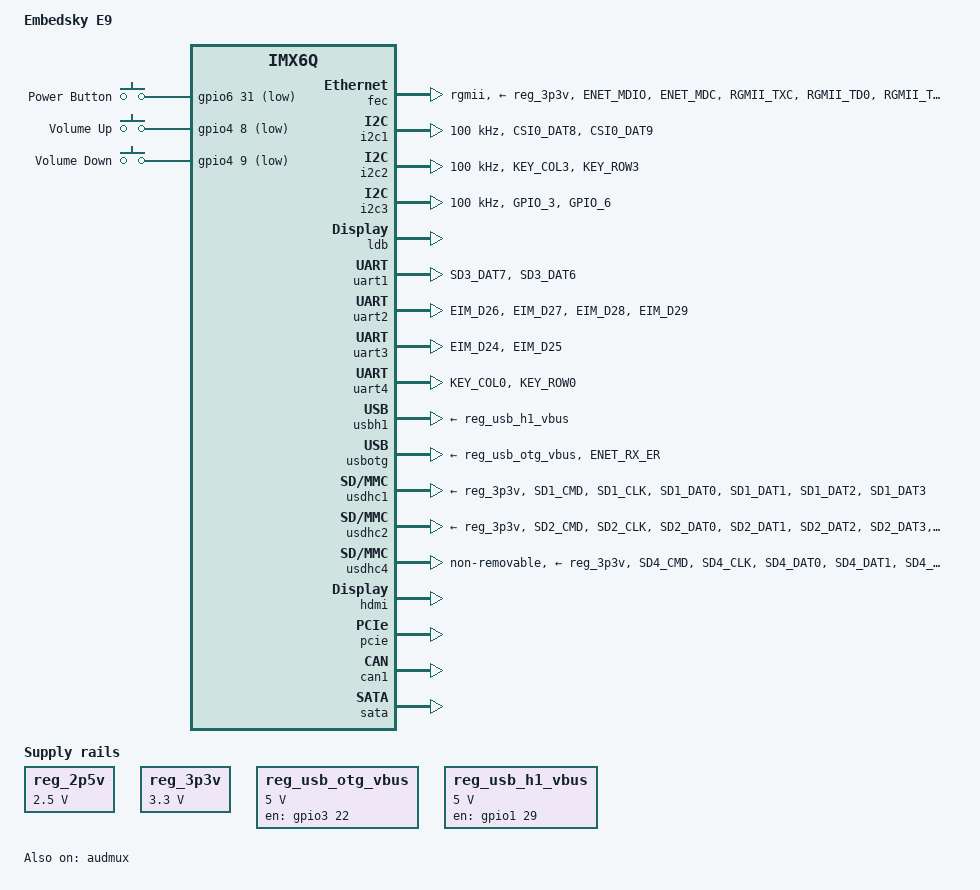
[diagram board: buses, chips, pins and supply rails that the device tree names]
/*
 * Copyright 2012 Freescale Semiconductor, Inc.
 * Copyright 2011 Linaro Ltd.
 *
 * The code contained herein is licensed under the GNU General Public
 * License. You may obtain a copy of the GNU General Public License
 * Version 2 or later at the following locations:
 *
 * http://www.opensource.org/licenses/gpl-license.html
 * http://www.gnu.org/copyleft/gpl.html
 */

#include <dt-bindings/gpio/gpio.h>
#include <dt-bindings/input/input.h>

/ {
	model = "Embedsky E9";
	compatible = "embedsky,e9", "fsl,imx6q";

	regulators {
		compatible = "simple-bus";
		#address-cells = <1>;
		#size-cells = <0>;

		reg_2p5v: regulator@0 {
			compatible = "regulator-fixed";
			reg = <0>;
			regulator-name = "2P5V";
			regulator-min-microvolt = <2500000>;
			regulator-max-microvolt = <2500000>;
			regulator-always-on;
		};

		reg_3p3v: regulator@1 {
			compatible = "regulator-fixed";
			reg = <1>;
			regulator-name = "3P3V";
			regulator-min-microvolt = <3300000>;
			regulator-max-microvolt = <3300000>;
			regulator-always-on;
		};

		reg_usb_otg_vbus: regulator@2 {
			compatible = "regulator-fixed";
			reg = <2>;
			regulator-name = "usb_otg_vbus";
			regulator-min-microvolt = <5000000>;
			regulator-max-microvolt = <5000000>;
			gpio = <&gpio3 22 0>;
			enable-active-high;
		};

		reg_usb_h1_vbus: regulator@3 {
			compatible = "regulator-fixed";
			reg = <3>;
			regulator-name = "usb_h1_vbus";
			regulator-min-microvolt = <5000000>;
			regulator-max-microvolt = <5000000>;
			gpio = <&gpio1 29 0>;
			enable-active-high;
		};

	};

	gpio-keys {
		compatible = "gpio-keys";
		pinctrl-names = "default";
		pinctrl-0 = <&pinctrl_gpio_keys>;

		power {
			label = "Power Button";
			gpios = <&gpio6 31 GPIO_ACTIVE_LOW>;
			gpio-key,wakeup;
			linux,code = <KEY_POWER>;
		};

		volume-up {
			label = "Volume Up";
			gpios = <&gpio4 8 GPIO_ACTIVE_LOW>;
			gpio-key,wakeup;
			linux,code = <KEY_VOLUMEUP>;
		};

		volume-down {
			label = "Volume Down";
			gpios = <&gpio4 9 GPIO_ACTIVE_LOW>;
			gpio-key,wakeup;
			linux,code = <KEY_VOLUMEDOWN>;
		};
	};

};

&audmux {
	pinctrl-names = "default";
	pinctrl-0 = <&pinctrl_audmux>;
	status = "okay";
};

&fec {
	pinctrl-names = "default";
	pinctrl-0 = <&pinctrl_enet>;
	phy-mode = "rgmii";
	phy-supply=<&reg_3p3v>;
	status = "okay";
};

&i2c1 {
	clock-frequency = <100000>;
	pinctrl-names = "default";
	pinctrl-0 = <&pinctrl_i2c1>;
	status = "okay";

};

&i2c2 {
	clock-frequency = <100000>;
	pinctrl-names = "default";
	pinctrl-0 = <&pinctrl_i2c2>;
	status = "okay";
};

&i2c3 {
	clock-frequency = <100000>;
	pinctrl-names = "default";
	pinctrl-0 = <&pinctrl_i2c3>;
	status = "okay";
};

&iomuxc {
	pinctrl-names = "default";
	pinctrl-0 = <&pinctrl_hog>;

	imx6qdl-embedsky-e9 {
		pinctrl_hog: hoggrp {
			fsl,pins = <
				MX6QDL_PAD_EIM_BCLK__GPIO6_IO31		0x80000000
				MX6QDL_PAD_NANDF_D0__GPIO2_IO00		0x80000000
				MX6QDL_PAD_NANDF_D1__GPIO2_IO01		0x80000000
				MX6QDL_PAD_NANDF_D2__GPIO2_IO02		0x80000000
				MX6QDL_PAD_NANDF_D3__GPIO2_IO03		0x80000000
				MX6QDL_PAD_GPIO_0__CCM_CLKO1		0x130b0
				MX6QDL_PAD_NANDF_CLE__GPIO6_IO07	0x80000000
				MX6QDL_PAD_ENET_TXD1__GPIO1_IO29	0x80000000
				MX6QDL_PAD_EIM_D22__GPIO3_IO22 		0x80000000
			>;
		};

		pinctrl_audmux: audmuxgrp {
			fsl,pins = <
				MX6QDL_PAD_CSI0_DAT7__AUD3_RXD		0x130b0
				MX6QDL_PAD_CSI0_DAT4__AUD3_TXC		0x130b0
				MX6QDL_PAD_CSI0_DAT5__AUD3_TXD		0x110b0
				MX6QDL_PAD_CSI0_DAT6__AUD3_TXFS		0x130b0
			>;
		};

		pinctrl_ecspi1: ecspi1grp {
			fsl,pins = <
				MX6QDL_PAD_KEY_COL1__ECSPI1_MISO	0x100b1
				MX6QDL_PAD_KEY_ROW0__ECSPI1_MOSI	0x100b1
				MX6QDL_PAD_KEY_COL0__ECSPI1_SCLK	0x100b1
			>;
		};

		pinctrl_enet: enetgrp {
			fsl,pins = <
				MX6QDL_PAD_ENET_MDIO__ENET_MDIO		0x1b0b0
				MX6QDL_PAD_ENET_MDC__ENET_MDC		0x1b0b0
				MX6QDL_PAD_RGMII_TXC__RGMII_TXC		0x1b0b0
				MX6QDL_PAD_RGMII_TD0__RGMII_TD0		0x1b0b0
				MX6QDL_PAD_RGMII_TD1__RGMII_TD1		0x1b0b0
				MX6QDL_PAD_RGMII_TD2__RGMII_TD2		0x1b0b0
				MX6QDL_PAD_RGMII_TD3__RGMII_TD3		0x1b0b0
				MX6QDL_PAD_RGMII_TX_CTL__RGMII_TX_CTL	0x1b0b0
				MX6QDL_PAD_ENET_REF_CLK__ENET_TX_CLK	0x1b0b0
				MX6QDL_PAD_RGMII_RXC__RGMII_RXC		0x1b0b0
				MX6QDL_PAD_RGMII_RD0__RGMII_RD0		0x1b0b0
				MX6QDL_PAD_RGMII_RD1__RGMII_RD1		0x1b0b0
				MX6QDL_PAD_RGMII_RD2__RGMII_RD2		0x1b0b0
				MX6QDL_PAD_RGMII_RD3__RGMII_RD3		0x1b0b0
				MX6QDL_PAD_RGMII_RX_CTL__RGMII_RX_CTL	0x1b0b0
				MX6QDL_PAD_ENET_CRS_DV__GPIO1_IO25	0x4001b0a8
				MX6QDL_PAD_GPIO_16__ENET_REF_CLK	0x4001b0a8
				MX6QDL_PAD_ENET_RXD1__GPIO1_IO26	0x4001b0a8
			>;
		};

		pinctrl_gpio_keys: gpio_keysgrp {
			fsl,pins = <
				MX6QDL_PAD_EIM_BCLK__GPIO6_IO31		0x80000000
				MX6QDL_PAD_KEY_COL1__KEY_COL1		0x80000000
				MX6QDL_PAD_KEY_ROW1__KEY_ROW1		0x80000000
			>;
		};

		pinctrl_i2c1: i2c1grp {
			fsl,pins = <
				MX6QDL_PAD_CSI0_DAT8__I2C1_SDA		0x4001b8b1
				MX6QDL_PAD_CSI0_DAT9__I2C1_SCL		0x4001b8b1
			>;
		};

		pinctrl_i2c2: i2c2grp {
			fsl,pins = <
				MX6QDL_PAD_KEY_COL3__I2C2_SCL		0x4001b8b1
				MX6QDL_PAD_KEY_ROW3__I2C2_SDA		0x4001b8b1
			>;
		};

		pinctrl_i2c3: i2c3grp {
			fsl,pins = <
				MX6QDL_PAD_GPIO_3__I2C3_SCL		0x4001b8b1
				MX6QDL_PAD_GPIO_6__I2C3_SDA		0x4001b8b1
			>;
		};

		pinctrl_uart1: uart1grp {
			fsl,pins = <
				MX6QDL_PAD_SD3_DAT7__UART1_TX_DATA	0x1b0b1
				MX6QDL_PAD_SD3_DAT6__UART1_RX_DATA	0x1b0b1
			>;
		};

		pinctrl_uart2: uart2grp {
			fsl,pins = <
				MX6QDL_PAD_EIM_D26__UART2_RX_DATA	0x1b0b1
				MX6QDL_PAD_EIM_D27__UART2_TX_DATA	0x1b0b1
				MX6QDL_PAD_EIM_D28__UART2_DTE_CTS_B	0x1b0b1
				MX6QDL_PAD_EIM_D29__UART2_DTE_RTS_B	0x1b0b1
			>;
		};

		pinctrl_uart3: uart3grp {
			fsl,pins = <
				MX6QDL_PAD_EIM_D24__UART3_TX_DATA	0x1b0b1
				MX6QDL_PAD_EIM_D25__UART3_RX_DATA	0x1b0b1
			>;
		};

		pinctrl_uart4: uart4grp {
			fsl,pins = <
				MX6QDL_PAD_KEY_COL0__UART4_TX_DATA	0x1b0b1
				MX6QDL_PAD_KEY_ROW0__UART4_RX_DATA	0x1b0b1
			>;
		};

		pinctrl_usbotg: usbotggrp {
			fsl,pins = <
				MX6QDL_PAD_ENET_RX_ER__USB_OTG_ID	0x17059
			>;
		};

		pinctrl_usdhc1: usdhc1grp {
			fsl,pins = <
				MX6QDL_PAD_SD1_CMD__SD1_CMD		0x17059
				MX6QDL_PAD_SD1_CLK__SD1_CLK		0x10059
				MX6QDL_PAD_SD1_DAT0__SD1_DATA0		0x17059
				MX6QDL_PAD_SD1_DAT1__SD1_DATA1		0x17059
				MX6QDL_PAD_SD1_DAT2__SD1_DATA2		0x17059
				MX6QDL_PAD_SD1_DAT3__SD1_DATA3		0x17059
			>;
		};

		pinctrl_usdhc2: usdhc2grp {
			fsl,pins = <
				MX6QDL_PAD_SD2_CMD__SD2_CMD		0x17059
				MX6QDL_PAD_SD2_CLK__SD2_CLK		0x10059
				MX6QDL_PAD_SD2_DAT0__SD2_DATA0		0x17059
				MX6QDL_PAD_SD2_DAT1__SD2_DATA1		0x17059
				MX6QDL_PAD_SD2_DAT2__SD2_DATA2		0x17059
				MX6QDL_PAD_SD2_DAT3__SD2_DATA3		0x17059
				MX6QDL_PAD_GPIO_4__GPIO1_IO04		0x1f071
			>;
		};

		pinctrl_usdhc3: usdhc3grp {
			fsl,pins = <
				MX6QDL_PAD_SD3_CMD__SD3_CMD		0x17059
				MX6QDL_PAD_SD3_CLK__SD3_CLK		0x10059
				MX6QDL_PAD_SD3_DAT0__SD3_DATA0		0x17059
				MX6QDL_PAD_SD3_DAT1__SD3_DATA1		0x17059
				MX6QDL_PAD_SD3_DAT2__SD3_DATA2		0x17059
				MX6QDL_PAD_SD3_DAT3__SD3_DATA3		0x17059
			>;
		};

		pinctrl_usdhc4: usdhc4grp {
			fsl,pins = <
				MX6QDL_PAD_SD4_CMD__SD4_CMD		0x17059
				MX6QDL_PAD_SD4_CLK__SD4_CLK		0x10059
				MX6QDL_PAD_SD4_DAT0__SD4_DATA0		0x17059
				MX6QDL_PAD_SD4_DAT1__SD4_DATA1		0x17059
				MX6QDL_PAD_SD4_DAT2__SD4_DATA2		0x17059
				MX6QDL_PAD_SD4_DAT3__SD4_DATA3		0x17059
				MX6QDL_PAD_SD4_DAT4__SD4_DATA4		0x17059
				MX6QDL_PAD_SD4_DAT5__SD4_DATA5		0x17059
				MX6QDL_PAD_SD4_DAT6__SD4_DATA6		0x17059
				MX6QDL_PAD_SD4_DAT7__SD4_DATA7		0x17059
			>;
		};
	};
};

&ldb {
	status = "okay";
};

&uart1 {
	pinctrl-names = "default";
	pinctrl-0 = <&pinctrl_uart1>;
	status = "okay";
};

&uart2 {
	pinctrl-names = "default";
	pinctrl-0 = <&pinctrl_uart2>;
	status = "okay";
};

&uart3 {
	pinctrl-names = "default";
	pinctrl-0 = <&pinctrl_uart3>;
	status = "okay";
};

&uart4 {
	pinctrl-names = "default";
	pinctrl-0 = <&pinctrl_uart4>;
	status = "okay";
};

&usbh1 {
	vbus-supply = <&reg_usb_h1_vbus>;
	status = "okay";
};

&usbotg {
	vbus-supply = <&reg_usb_otg_vbus>;
	pinctrl-names = "default";
	pinctrl-0 = <&pinctrl_usbotg>;
	disable-over-current;
	status = "okay";
};

&usdhc1 {
	pinctrl-names = "default";
	pinctrl-0 = <&pinctrl_usdhc1>;
	vmmc-supply = <&reg_3p3v>;
	status = "okay";
};

&usdhc2 {
	pinctrl-names = "default";
	pinctrl-0 = <&pinctrl_usdhc2>;
	cd-gpios = <&gpio1 4 0>;
	vmmc-supply = <&reg_3p3v>;
	status = "okay";
};

&usdhc4 {
	pinctrl-names = "default";
	pinctrl-0 = <&pinctrl_usdhc4>;
	vmmc-supply = <&reg_3p3v>;
	non-removable;
	status = "okay";
};

&ldb {
	status = "okay";
};

&hdmi {
	status = "okay";
};

&pcie {
	status = "okay";
};

&can1 {
	status = "okay";
};

&sata {
	status = "okay";
};

&usdhc3 {
	status = "disabled";
};

&ecspi1 {
	status = "disabled";
};
